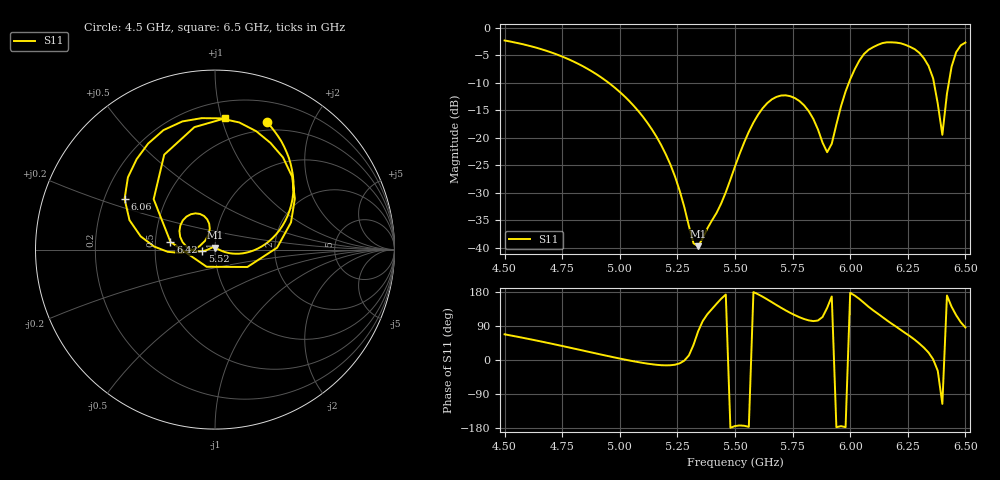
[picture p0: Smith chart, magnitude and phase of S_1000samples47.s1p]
! TOUCHSTONE file generated by CST MICROWAVE STUDIO
! Date and time: Wed Oct 26 19:45:14 2022
! Project name: L.cst
! Parameters = {Di=1.27; Epsilon_r=1.56; InnerDiameter=1.27; Length=2; Lf=10; Lg=60; OuterConductorThickness=0.2921; OuterDiameter=3.6; Wf=3; Wp=41.2; de=1.5; df=6.8; g=0.8; gx=2.10966; gy=2.6793; h=2.34; hf=1.524; px=13.641; py=9.78519; w=9.7; wx=11.5313; wy=7.10589}
! Header version: 2018
! Port assignment regex: !\s*Touchstone port\s*([0-9]+)\s*=\s*(CST MWS port|CST DS port)\s*([0-9]+|Zmin|Zmax)\s*\(\"(.*)\"\)(\s*mode\s*([0-9]+))?.*
! Touchstone port assignment:
! Touchstone port 1 = CST MWS port 1 ("")
# GHz S DB R 50
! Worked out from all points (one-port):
!   101 points, 4.5 GHz to 6.5 GHz, reference 50 ohm
!   lowest |S11| = -39.7 dB at 5.34 GHz (marker M1), VSWR 1.02, Z = 50.2 + j1.01 ohm
!   |S11| at or under -10 dB: 4.951 GHz to 5.994 GHz (1.043 GHz wide, 19.1 % of centre); 6.363 GHz to 6.428 GHz (64.64 MHz wide, 1.01 % of centre)
!   S11 on the Smith chart (normalised r, x): 4.5 GHz: 0.41, +1.41; 5.52 GHz: 0.87, -0.02; 6.06 GHz: 0.28, +0.24; 6.42 GHz: 0.60, +0.06; 6.5 GHz: 0.32, +1.02
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4.5  -2.32 67.8
4.76  -5.41 35.7
5  -11.68 3.8
5.16  -19.85 -12.7
5.26  -29.64 -8.8
5.32  -39.17 40.0
5.34  -39.69 75.6
5.44  -31.94 161.6
5.5  -25.21 -174.2
5.52  -22.93 -172.7
5.64  -13.70 159.9
5.76  -12.79 118.3
5.82  -15.17 104.5
5.9  -22.62 137.7
6  -9.38 177.1
6.06  -4.77 150.7
6.12  -3.12 122.2
6.16  -2.65 104.3
6.22  -2.84 79.2
6.26  -3.48 62.5
6.3  -4.56 43.4
6.34  -6.94 19.7
6.36  -9.21 1.8
6.4  -19.46 -115.9
6.42  -11.98 170.2
6.44  -7.09 140.6
6.46  -4.44 118.1
6.5  -2.70 85.8
